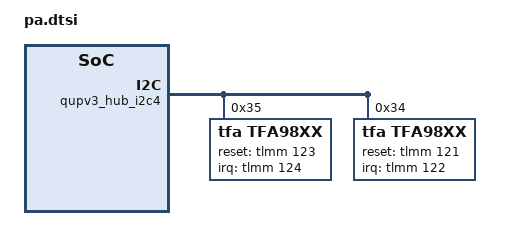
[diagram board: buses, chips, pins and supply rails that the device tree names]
&qupv3_hub_i2c4 {
    status = "ok";

	#address-cells = <1>;
	#size-cells = <0>;
	
	tfa98xx@35 {
		compatible = "tfa,tfa98xx";
		status = "ok";
		reg = <0x35>;
		reset-gpio = <&tlmm 123 0x00>;
		irq-gpio = <&tlmm 124 0x00>;
		reset-polarity = <1>;
		is-primary = <0>;
	};

	tfa98xx@34 {
		compatible = "tfa,tfa98xx";
		status = "ok";
		reg = <0x34>;
		reset-gpio = <&tlmm 121 0x00>;
		irq-gpio = <&tlmm 122 0x00>;
		reset-polarity = <1>;
		is-primary = <1>;
	};
};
